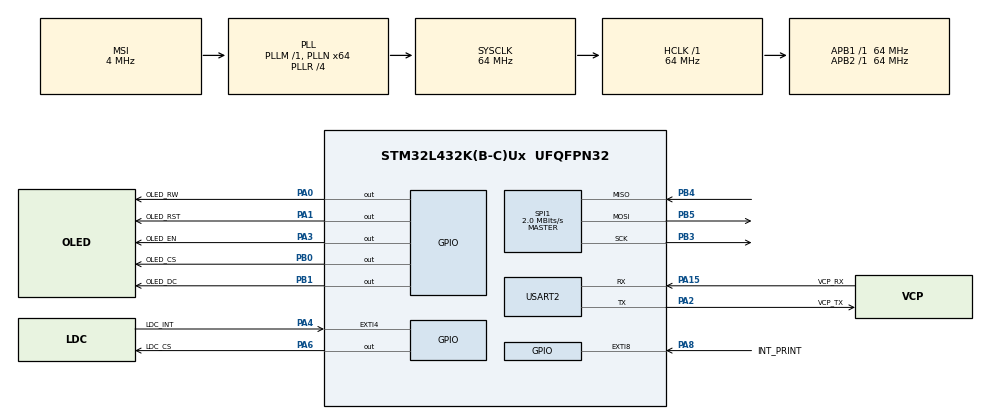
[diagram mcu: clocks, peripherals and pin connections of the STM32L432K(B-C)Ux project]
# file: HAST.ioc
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Dma.Request0=USART2_TX
Dma.Request1=USART2_RX
Dma.USART2_RX.1.Direction=DMA_PERIPH_TO_MEMORY
Dma.USART2_RX.1.Instance=DMA1_Channel6
Dma.USART2_RX.1.MemDataAlignment=DMA_MDATAALIGN_BYTE
Dma.USART2_RX.1.MemInc=DMA_MINC_ENABLE
Dma.USART2_RX.1.Mode=DMA_NORMAL
Dma.USART2_RX.1.PeriphDataAlignment=DMA_PDATAALIGN_BYTE
Dma.USART2_RX.1.PeriphInc=DMA_PINC_DISABLE
Dma.USART2_RX.1.Priority=DMA_PRIORITY_LOW
Dma.USART2_TX.0.Direction=DMA_MEMORY_TO_PERIPH
Dma.USART2_TX.0.Instance=DMA1_Channel7
Dma.USART2_TX.0.MemDataAlignment=DMA_MDATAALIGN_BYTE
Dma.USART2_TX.0.MemInc=DMA_MINC_ENABLE
Dma.USART2_TX.0.Mode=DMA_NORMAL
Dma.USART2_TX.0.PeriphDataAlignment=DMA_PDATAALIGN_BYTE
Dma.USART2_TX.0.PeriphInc=DMA_PINC_DISABLE
Dma.USART2_TX.0.Priority=DMA_PRIORITY_MEDIUM
Mcu.Family=STM32L4
Mcu.Name=STM32L432K(B-C)Ux
Mcu.Package=UFQFPN32
NVIC.DMA1_Channel6_IRQn=true\:8\:0\:true\:false\:true\:false\:true
NVIC.DMA1_Channel7_IRQn=true\:0\:0\:true\:false\:true\:false\:true
NVIC.EXTI4_IRQn=true\:8\:0\:true\:true\:true\:1\:true\:true
NVIC.EXTI9_5_IRQn=true\:8\:0\:true\:false\:true\:true\:true
NVIC.PriorityGroup=NVIC_PRIORITYGROUP_4
NVIC.TIM6_DAC_IRQn=true\:8\:0\:true\:false\:true\:true\:true
NVIC.TIM7_IRQn=true\:0\:0\:false\:false\:true\:true\:true
NVIC.USART2_IRQn=true\:8\:0\:true\:false\:true\:true\:true
PA0.GPIO_Label=OLED_RW
PA0.Signal=GPIO_Output
PA1.GPIO_Label=OLED_RST
PA1.Signal=GPIO_Output
PA13\ (JTMS-SWDIO).GPIO_Label=SWDIO
PA13\ (JTMS-SWDIO).Mode=Serial_Wire
PA13\ (JTMS-SWDIO).Signal=SYS_JTMS-SWDIO
PA14\ (JTCK-SWCLK).GPIO_Label=SWCLK
PA14\ (JTCK-SWCLK).Mode=Serial_Wire
PA14\ (JTCK-SWCLK).Signal=SYS_JTCK-SWCLK
PA15\ (JTDI).GPIO_Label=VCP_RX
PA15\ (JTDI).Mode=Asynchronous
PA15\ (JTDI).Signal=USART2_RX
PA2.GPIO_Label=VCP_TX
PA2.Mode=Asynchronous
PA2.Signal=USART2_TX
PA3.GPIO_Label=OLED_EN
PA3.Signal=GPIO_Output
PA4.GPIO_Label=LDC_INT
PA4.GPIO_ModeDefaultEXTI=GPIO_MODE_IT_FALLING
PA4.Signal=GPXTI4
PA6.GPIO_Label=LDC_CS
PA6.Signal=GPIO_Output
PA8.GPIO_Label=INT_PRINT
PA8.GPIO_ModeDefaultEXTI=GPIO_MODE_IT_FALLING
PA8.Signal=GPXTI8
PB0.GPIO_Label=OLED_CS
PB0.Signal=GPIO_Output
PB1.GPIO_Label=OLED_DC
PB1.Signal=GPIO_Output
PB3\ (JTDO-TRACESWO).Mode=Full_Duplex_Master
PB3\ (JTDO-TRACESWO).Signal=SPI1_SCK
PB4\ (NJTRST).Mode=Full_Duplex_Master
PB4\ (NJTRST).Signal=SPI1_MISO
PB5.Mode=Full_Duplex_Master
PB5.Signal=SPI1_MOSI
ProjectManager.HeapSize=0x200
ProjectManager.StackSize=0x400
ProjectManager.TargetToolchain=STM32CubeIDE
RCC.AHBFreq_Value=64000000
RCC.APB1Freq_Value=64000000
RCC.APB1TimFreq_Value=64000000
RCC.APB2Freq_Value=64000000
RCC.APB2TimFreq_Value=64000000
RCC.CortexFreq_Value=64000000
RCC.HCLKFreq_Value=64000000
RCC.HSE_VALUE=8000000
RCC.HSI16_VALUE=16000000
RCC.HSI48_VALUE=48000000
RCC.HSI_VALUE=16000000
RCC.LSE_VALUE=32768
RCC.MSI_VALUE=4000000
RCC.PLLMUL=RCC_PLLMUL_4
RCC.PLLN=64
RCC.PLLR=RCC_PLLR_DIV4
RCC.SYSCLKFreq_VALUE=64000000
RCC.SYSCLKSource=RCC_SYSCLKSOURCE_PLLCLK
RCC.VCOOutputFreq_Value=256000000
SPI1.BaudRatePrescaler=SPI_BAUDRATEPRESCALER_32
SPI1.CLKPhase=SPI_PHASE_1EDGE
SPI1.CLKPolarity=SPI_POLARITY_LOW
SPI1.CalculateBaudRate=2.0 MBits/s
SPI1.DataSize=SPI_DATASIZE_8BIT
SPI1.Direction=SPI_DIRECTION_2LINES
SPI1.Mode=SPI_MODE_MASTER
SPI1.NSSPMode=SPI_NSS_PULSE_DISABLE
SPI1.VirtualType=VM_MASTER
TIM6.AutoReloadPreload=TIM_AUTORELOAD_PRELOAD_ENABLE
TIM6.Period=999
TIM6.Prescaler=64000
TIM7.AutoReloadPreload=TIM_AUTORELOAD_PRELOAD_DISABLE
TIM7.Period=29999
TIM7.Prescaler=64000
USART2.VirtualMode-Asynchronous=VM_ASYNC
VP_RTC_VS_RTC_Activate.Mode=RTC_Enabled
VP_RTC_VS_RTC_Calendar.Mode=RTC_Calendar
VP_TIM6_VS_ClockSourceINT.Mode=Enable_Timer
VP_TIM7_VS_ClockSourceINT.Mode=Enable_Timer
VP_TIM7_VS_OPM.Mode=OPM_bit
board=NUCLEO-L432KC

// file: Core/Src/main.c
/* USER CODE BEGIN Header */
/**
  ******************************************************************************
  * @file           : main.c
  * @brief          : Main program body
  ******************************************************************************
  * @attention
  *
  * Copyright (c) 2022 STMicroelectronics.
  * All rights reserved.
  *
  * This software is licensed under terms that can be found in the LICENSE file
  * in the root directory of this software component.
  * If no LICENSE file comes with this software, it is provided AS-IS.
  *
  ******************************************************************************
  */
/* USER CODE END Header */
#include "main.h"

RTC_HandleTypeDef hrtc;

SPI_HandleTypeDef hspi1;

TIM_HandleTypeDef htim6;
TIM_HandleTypeDef htim7;

UART_HandleTypeDef huart2;
DMA_HandleTypeDef hdma_usart2_tx;
DMA_HandleTypeDef hdma_usart2_rx;

void SystemClock_Config(void);
static void MX_GPIO_Init(void);
static void MX_SPI1_Init(void);
static void MX_RTC_Init(void);
static void MX_TIM6_Init(void);
static void MX_DMA_Init(void);
static void MX_USART2_UART_Init(void);
static void MX_TIM7_Init(void);
static void MX_NVIC_Init(void);

int main(void)
{

  /* MCU Configuration--------------------------------------------------------*/

  /* Reset of all peripherals, Initializes the Flash interface and the Systick. */
  HAL_Init();

  /* Configure the system clock */
  SystemClock_Config();

  /* Initialize all configured peripherals */
  MX_GPIO_Init();
  MX_SPI1_Init();
  MX_RTC_Init();
  MX_TIM6_Init();
  MX_DMA_Init();
  MX_USART2_UART_Init();
  MX_TIM7_Init();

  /* Initialize interrupts */
  MX_NVIC_Init();
  /* USER CODE BEGIN 2 */
  // Pull all Chip Selects to high as default
  HAL_GPIO_WritePin(LDC_CS_GPIO_Port, LDC_CS_Pin, GPIO_PIN_SET);
  HAL_GPIO_WritePin(OLED_CS_GPIO_Port, OLED_CS_Pin, GPIO_PIN_SET);

  // Init LDC1000 and configure Interrupt Settings
  applicationInit (&hspi1, LDC_CS_GPIO_Port, LDC_CS_Pin);
  enableInterrupt (&hspi1, LDC_CS_GPIO_Port, LDC_CS_Pin, 5500, 8500);
  HAL_Delay(100);

  // Allocate Memory for variables and initialize Struct oled_c
  prioOnly = false;
  isSoftwareInt = false;
  DISPLAY_TIME = 30000;
  currTime = (RTC_TimeTypeDef*)malloc(sizeof(RTC_TimeTypeDef));
  currDate = (RTC_DateTypeDef*)malloc(sizeof(RTC_DateTypeDef));

  messageToDisplay = (uint8_t *)malloc((10 + MAX_PAYLOAD_LENGTH) * sizeof(uint8_t));
  oled_c = (OLED_C *)malloc(sizeof(OLED_C));
  OLED_C_Init_Struct(oled_c, &hspi1);

  // Initialize OLED C Click and set Font
  oled_c_init(oled_c);
  oled_c_set_font(guiFont_Tahoma_10_Regular, WHITE, 0 );

  // Init UART with GAMER Protocol
  initGAMER(&huart2, messageToDisplay);

  // Start Timer 6 to print the time every Second
  HAL_TIM_Base_Start_IT(&htim6);

  // Print Coins after startup
  printCoins(messageToDisplay);

  // Send menu on startup via UART
  printMenu(&huart2, true);

  /* USER CODE END 2 */

  /* Infinite loop */
  /* USER CODE BEGIN WHILE */
  uint32_t countBuf = 0;
  while (1)
  {
	  // If the Coin Count changes, the Value gets printed
	  if (getCount() != countBuf)
	  {
		  countBuf = getCount();
		  printCoins(messageToDisplay);
	  }
	  HAL_Delay(1);
    /* USER CODE END WHILE */

  }
}

void SystemClock_Config(void)
{
  RCC_OscInitTypeDef RCC_OscInitStruct = {0};
  RCC_ClkInitTypeDef RCC_ClkInitStruct = {0};

  /** Configure the main internal regulator output voltage
  */
  if (HAL_PWREx_ControlVoltageScaling(PWR_REGULATOR_VOLTAGE_SCALE1) != HAL_OK)
  {
    Error_Handler();
  }
  /** Initializes the RCC Oscillators according to the specified parameters
  * in the RCC_OscInitTypeDef structure.
  */
  RCC_OscInitStruct.OscillatorType = RCC_OSCILLATORTYPE_LSI|RCC_OSCILLATORTYPE_MSI;
  RCC_OscInitStruct.LSIState = RCC_LSI_ON;
  RCC_OscInitStruct.MSIState = RCC_MSI_ON;
  RCC_OscInitStruct.MSICalibrationValue = 0;
  RCC_OscInitStruct.MSIClockRange = RCC_MSIRANGE_6;
  RCC_OscInitStruct.PLL.PLLState = RCC_PLL_ON;
  RCC_OscInitStruct.PLL.PLLSource = RCC_PLLSOURCE_MSI;
  RCC_OscInitStruct.PLL.PLLM = 1;
  RCC_OscInitStruct.PLL.PLLN = 64;
  RCC_OscInitStruct.PLL.PLLP = RCC_PLLP_DIV7;
  RCC_OscInitStruct.PLL.PLLQ = RCC_PLLQ_DIV2;
  RCC_OscInitStruct.PLL.PLLR = RCC_PLLR_DIV4;
  if (HAL_RCC_OscConfig(&RCC_OscInitStruct) != HAL_OK)
  {
    Error_Handler();
  }
  /** Initializes the CPU, AHB and APB buses clocks
  */
  RCC_ClkInitStruct.ClockType = RCC_CLOCKTYPE_HCLK|RCC_CLOCKTYPE_SYSCLK
                              |RCC_CLOCKTYPE_PCLK1|RCC_CLOCKTYPE_PCLK2;
  RCC_ClkInitStruct.SYSCLKSource = RCC_SYSCLKSOURCE_PLLCLK;
  RCC_ClkInitStruct.AHBCLKDivider = RCC_SYSCLK_DIV1;
  RCC_ClkInitStruct.APB1CLKDivider = RCC_HCLK_DIV1;
  RCC_ClkInitStruct.APB2CLKDivider = RCC_HCLK_DIV1;

  if (HAL_RCC_ClockConfig(&RCC_ClkInitStruct, FLASH_LATENCY_3) != HAL_OK)
  {
    Error_Handler();
  }
}

/**
  * @brief NVIC Configuration.
  * @retval None
  */
static void MX_NVIC_Init(void)
{
  /* EXTI4_IRQn interrupt configuration */
  HAL_NVIC_SetPriority(EXTI4_IRQn, 8, 0);
  HAL_NVIC_EnableIRQ(EXTI4_IRQn);
}

static void MX_RTC_Init(void)
{

  RTC_TimeTypeDef sTime = {0};
  RTC_DateTypeDef sDate = {0};

  /** Initialize RTC Only
  */
  hrtc.Instance = RTC;
  hrtc.Init.HourFormat = RTC_HOURFORMAT_24;
  hrtc.Init.AsynchPrediv = 127;
  hrtc.Init.SynchPrediv = 255;
  hrtc.Init.OutPut = RTC_OUTPUT_DISABLE;
  hrtc.Init.OutPutRemap = RTC_OUTPUT_REMAP_NONE;
  hrtc.Init.OutPutPolarity = RTC_OUTPUT_POLARITY_HIGH;
  hrtc.Init.OutPutType = RTC_OUTPUT_TYPE_OPENDRAIN;
  if (HAL_RTC_Init(&hrtc) != HAL_OK)
  {
    Error_Handler();
  }

  /** Initialize RTC and set the Time and Date
  */
  sTime.Hours = 0x0;
  sTime.Minutes = 0x0;
  sTime.Seconds = 0x0;
  sTime.DayLightSaving = RTC_DAYLIGHTSAVING_NONE;
  sTime.StoreOperation = RTC_STOREOPERATION_RESET;
  if (HAL_RTC_SetTime(&hrtc, &sTime, RTC_FORMAT_BCD) != HAL_OK)
  {
    Error_Handler();
  }
  sDate.WeekDay = RTC_WEEKDAY_MONDAY;
  sDate.Month = RTC_MONTH_JANUARY;
  sDate.Date = 0x1;
  sDate.Year = 0x0;

  if (HAL_RTC_SetDate(&hrtc, &sDate, RTC_FORMAT_BCD) != HAL_OK)
  {
    Error_Handler();
  }

}

static void MX_SPI1_Init(void)
{

  /* SPI1 parameter configuration*/
  hspi1.Instance = SPI1;
  hspi1.Init.Mode = SPI_MODE_MASTER;
  hspi1.Init.Direction = SPI_DIRECTION_2LINES;
  hspi1.Init.DataSize = SPI_DATASIZE_8BIT;
  hspi1.Init.CLKPolarity = SPI_POLARITY_LOW;
  hspi1.Init.CLKPhase = SPI_PHASE_1EDGE;
  hspi1.Init.NSS = SPI_NSS_SOFT;
  hspi1.Init.BaudRatePrescaler = SPI_BAUDRATEPRESCALER_32;
  hspi1.Init.FirstBit = SPI_FIRSTBIT_MSB;
  hspi1.Init.TIMode = SPI_TIMODE_DISABLE;
  hspi1.Init.CRCCalculation = SPI_CRCCALCULATION_DISABLE;
  hspi1.Init.CRCPolynomial = 7;
  hspi1.Init.CRCLength = SPI_CRC_LENGTH_DATASIZE;
  hspi1.Init.NSSPMode = SPI_NSS_PULSE_DISABLE;
  if (HAL_SPI_Init(&hspi1) != HAL_OK)
  {
    Error_Handler();
  }

}

static void MX_TIM6_Init(void)
{

  TIM_MasterConfigTypeDef sMasterConfig = {0};

  htim6.Instance = TIM6;
  htim6.Init.Prescaler = 64000;
  htim6.Init.CounterMode = TIM_COUNTERMODE_UP;
  htim6.Init.Period = 999;
  htim6.Init.AutoReloadPreload = TIM_AUTORELOAD_PRELOAD_ENABLE;
  if (HAL_TIM_Base_Init(&htim6) != HAL_OK)
  {
    Error_Handler();
  }
  sMasterConfig.MasterOutputTrigger = TIM_TRGO_RESET;
  sMasterConfig.MasterSlaveMode = TIM_MASTERSLAVEMODE_DISABLE;
  if (HAL_TIMEx_MasterConfigSynchronization(&htim6, &sMasterConfig) != HAL_OK)
  {
    Error_Handler();
  }

}

static void MX_TIM7_Init(void)
{

  TIM_MasterConfigTypeDef sMasterConfig = {0};

  htim7.Instance = TIM7;
  htim7.Init.Prescaler = 64000;
  htim7.Init.CounterMode = TIM_COUNTERMODE_UP;
  htim7.Init.Period = 29999;
  htim7.Init.AutoReloadPreload = TIM_AUTORELOAD_PRELOAD_DISABLE;
  if (HAL_TIM_Base_Init(&htim7) != HAL_OK)
  {
    Error_Handler();
  }
  if (HAL_TIM_OnePulse_Init(&htim7, TIM_OPMODE_SINGLE) != HAL_OK)
  {
    Error_Handler();
  }
  sMasterConfig.MasterOutputTrigger = TIM_TRGO_RESET;
  sMasterConfig.MasterSlaveMode = TIM_MASTERSLAVEMODE_DISABLE;
  if (HAL_TIMEx_MasterConfigSynchronization(&htim7, &sMasterConfig) != HAL_OK)
  {
    Error_Handler();
  }

}

static void MX_USART2_UART_Init(void)
{

  huart2.Instance = USART2;
  huart2.Init.BaudRate = 115200;
  huart2.Init.WordLength = UART_WORDLENGTH_8B;
  huart2.Init.StopBits = UART_STOPBITS_1;
  huart2.Init.Parity = UART_PARITY_NONE;
  huart2.Init.Mode = UART_MODE_TX_RX;
  huart2.Init.HwFlowCtl = UART_HWCONTROL_NONE;
  huart2.Init.OverSampling = UART_OVERSAMPLING_16;
  huart2.Init.OneBitSampling = UART_ONE_BIT_SAMPLE_DISABLE;
  huart2.AdvancedInit.AdvFeatureInit = UART_ADVFEATURE_NO_INIT;
  if (HAL_UART_Init(&huart2) != HAL_OK)
  {
    Error_Handler();
  }

}

static void MX_DMA_Init(void)
{

  /* DMA controller clock enable */
  __HAL_RCC_DMA1_CLK_ENABLE();

  /* DMA interrupt init */
  /* DMA1_Channel6_IRQn interrupt configuration */
  HAL_NVIC_SetPriority(DMA1_Channel6_IRQn, 8, 0);
  HAL_NVIC_EnableIRQ(DMA1_Channel6_IRQn);
  /* DMA1_Channel7_IRQn interrupt configuration */
  HAL_NVIC_SetPriority(DMA1_Channel7_IRQn, 0, 0);
  HAL_NVIC_EnableIRQ(DMA1_Channel7_IRQn);

}

static void MX_GPIO_Init(void)
{
  GPIO_InitTypeDef GPIO_InitStruct = {0};

  /* GPIO Ports Clock Enable */
  __HAL_RCC_GPIOA_CLK_ENABLE();
  __HAL_RCC_GPIOB_CLK_ENABLE();

  /*Configure GPIO pin Output Level */
  HAL_GPIO_WritePin(GPIOA, OLED_RW_Pin|OLED_RST_Pin|OLED_EN_Pin|LDC_CS_Pin, GPIO_PIN_RESET);

  /*Configure GPIO pin Output Level */
  HAL_GPIO_WritePin(GPIOB, OLED_CS_Pin|OLED_DC_Pin, GPIO_PIN_RESET);

  /*Configure GPIO pins : OLED_RW_Pin OLED_RST_Pin OLED_EN_Pin LDC_CS_Pin */
  GPIO_InitStruct.Pin = OLED_RW_Pin|OLED_RST_Pin|OLED_EN_Pin|LDC_CS_Pin;
  GPIO_InitStruct.Mode = GPIO_MODE_OUTPUT_PP;
  GPIO_InitStruct.Pull = GPIO_NOPULL;
  GPIO_InitStruct.Speed = GPIO_SPEED_FREQ_LOW;
  HAL_GPIO_Init(GPIOA, &GPIO_InitStruct);

  /*Configure GPIO pins : LDC_INT_Pin INT_PRINT_Pin */
  GPIO_InitStruct.Pin = LDC_INT_Pin|INT_PRINT_Pin;
  GPIO_InitStruct.Mode = GPIO_MODE_IT_FALLING;
  GPIO_InitStruct.Pull = GPIO_NOPULL;
  HAL_GPIO_Init(GPIOA, &GPIO_InitStruct);

  /*Configure GPIO pins : OLED_CS_Pin OLED_DC_Pin */
  GPIO_InitStruct.Pin = OLED_CS_Pin|OLED_DC_Pin;
  GPIO_InitStruct.Mode = GPIO_MODE_OUTPUT_PP;
  GPIO_InitStruct.Pull = GPIO_NOPULL;
  GPIO_InitStruct.Speed = GPIO_SPEED_FREQ_LOW;
  HAL_GPIO_Init(GPIOB, &GPIO_InitStruct);

  /* EXTI interrupt init*/
  HAL_NVIC_SetPriority(EXTI9_5_IRQn, 8, 0);
  HAL_NVIC_EnableIRQ(EXTI9_5_IRQn);

}

void Error_Handler(void)
{
  __disable_irq();
  while (1)
  {
  }
}
